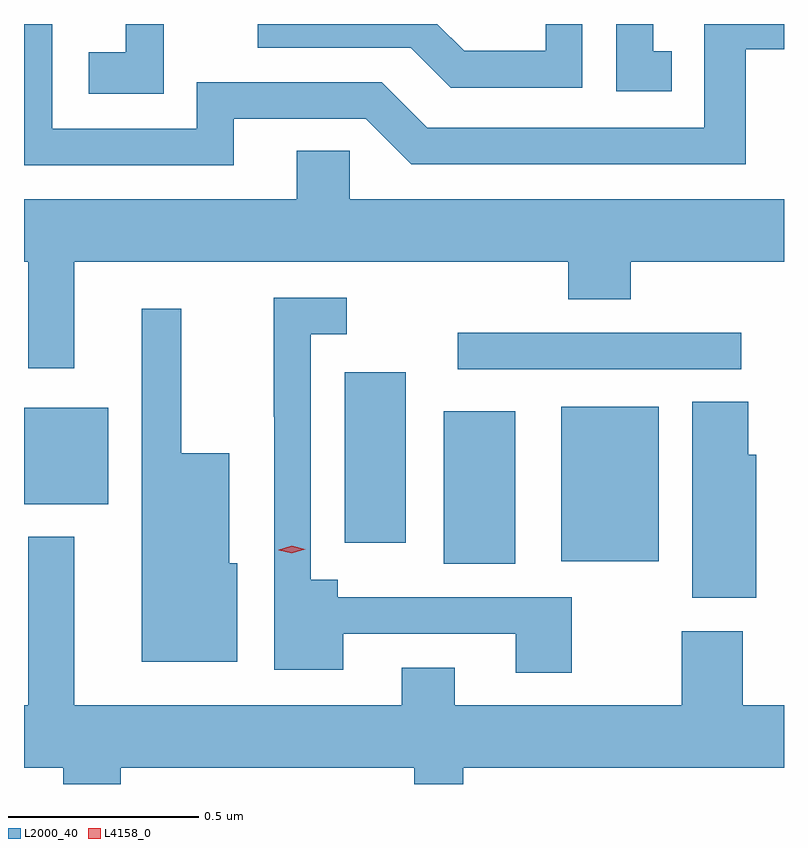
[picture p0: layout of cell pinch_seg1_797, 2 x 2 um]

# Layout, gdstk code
import gdstk
lib = gdstk.Library(unit=1e-6, precision=1e-09)
def R(c, l, rs):  # rectangles x0, y0, x1, y1
    for r in rs: c.add(gdstk.rectangle(r[:2], r[2:], *l))
def P(c, l, *ps):  # polygons
    for p in ps: c.add(gdstk.Polygon(p, *l))
L2000_40 = (2000, 40)
L4158_0 = (4158, 0)

pinch_seg1_797 = lib.new_cell('pinch_seg1_797')
R(pinch_seg1_797, L2000_40, [(547.202,581.573,547.39,581.974), (547.511,581.579,547.768,581.986), (546.941,581.628,547.102,582.076), (546.097,581.729,546.319,581.983), (547.239,582.084,547.984,582.18)])
P(pinch_seg1_797, L2000_40, [(547.566,582.993),(547.47,582.993),(547.47,582.922),(547.256,582.922),(547.185,582.993),(546.712,582.993),(546.712,582.93),(547.115,582.93),(547.22,582.825),(547.566,582.825)],
  [(546.649,582.744),(546.996,582.744),(547.116,582.624),(547.996,582.624),(547.996,582.927),(548.097,582.927),(548.097,582.993),(547.887,582.993),(547.887,582.72),(547.158,582.72),(547.038,582.84),(546.552,582.84),(546.552,582.717),(546.171,582.717),(546.171,582.993),(546.097,582.993),(546.097,582.621),(546.649,582.621)],
  [(547.802,582.921),(547.753,582.921),(547.753,582.993),(547.656,582.993),(547.656,582.816),(547.802,582.816)],
  [(546.465,582.993),(546.365,582.993),(546.365,582.919),(546.267,582.919),(546.267,582.809),(546.465,582.809)],
  [(546.229,582.368),(547.529,582.368),(547.529,582.269),(547.694,582.269),(547.694,582.368),(548.097,582.368),(548.097,582.532),(546.954,582.532),(546.954,582.659),(546.815,582.659),(546.815,582.532),(546.097,582.532),(546.097,582.368),(546.108,582.368),(546.108,582.087),(546.229,582.087)],
  [(547.539,581.484),(546.922,581.484),(546.922,581.53),(546.852,581.53),(546.852,582.177),(546.946,582.177),(546.946,582.273),(546.754,582.273),(546.754,581.959),(546.756,581.959),(546.756,581.294),(546.937,581.294),(546.937,581.388),(547.391,581.388),(547.391,581.286),(547.539,581.286)],
  [(546.658,581.574),(546.637,581.574),(546.637,581.863),(546.511,581.863),(546.511,582.244),(546.407,582.244),(546.407,581.315),(546.658,581.315)],
  [(548.024,581.859),(548.003,581.859),(548.003,581.999),(547.856,581.999),(547.856,581.483),(548.024,581.483)],
  [(546.352,581.036),(547.124,581.036),(547.124,580.993),(547.253,580.993),(547.253,581.036),(548.097,581.036),(548.097,581.2),(547.988,581.2),(547.988,581.395),(547.828,581.395),(547.828,581.2),(547.231,581.2),(547.231,581.299),(547.091,581.299),(547.091,581.2),(546.229,581.2),(546.229,581.644),(546.108,581.644),(546.108,581.2),(546.097,581.2),(546.097,581.036),(546.2,581.036),(546.2,580.993),(546.352,580.993)])
P(pinch_seg1_797, L4158_0, [(546.802,581.6),(546.767,581.608),(546.767,581.608),(546.767,581.609),(546.802,581.62),(546.837,581.611),(546.837,581.611),(546.837,581.611)])

lib.write_gds('pinch_seg1_797.gds')
